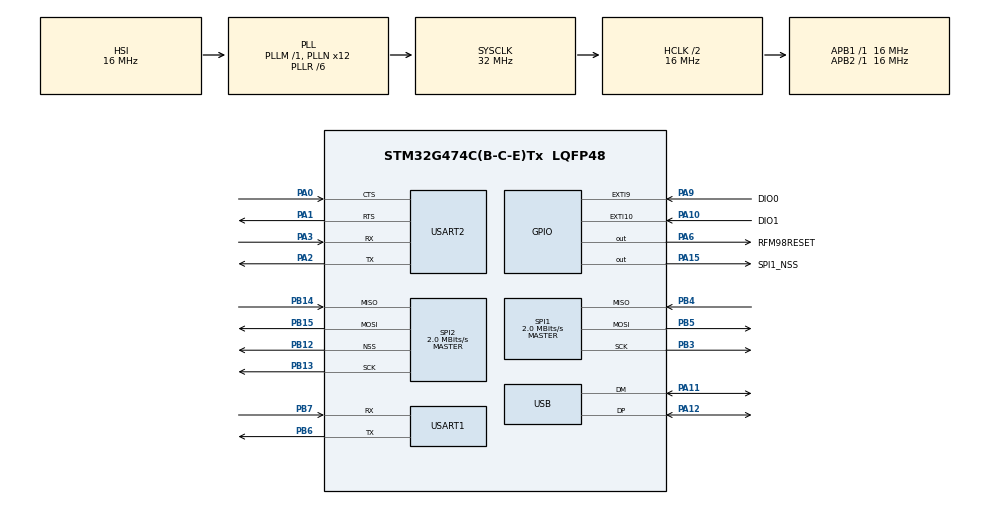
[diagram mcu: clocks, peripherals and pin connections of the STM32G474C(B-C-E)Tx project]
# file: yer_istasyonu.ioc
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Mcu.Family=STM32G4
Mcu.Name=STM32G474C(B-C-E)Tx
Mcu.Package=LQFP48
NVIC.EXTI15_10_IRQn=true\:0\:0\:false\:false\:true\:true\:true\:true
NVIC.EXTI9_5_IRQn=true\:0\:0\:false\:false\:true\:true\:true\:true
NVIC.PriorityGroup=NVIC_PRIORITYGROUP_4
PA0.Mode=CTS_RTS
PA0.Signal=USART2_CTS
PA1.Mode=CTS_RTS
PA1.Signal=USART2_RTS
PA10.GPIO_Label=DIO1
PA10.Signal=GPXTI10
PA11.Mode=Device
PA11.Signal=USB_DM
PA12.Mode=Device
PA12.Signal=USB_DP
PA13.Mode=Serial_Wire
PA13.Signal=SYS_JTMS-SWDIO
PA14.Mode=Serial_Wire
PA14.Signal=SYS_JTCK-SWCLK
PA15.GPIO_Label=SPI1_NSS
PA15.PinState=GPIO_PIN_SET
PA15.Signal=GPIO_Output
PA2.Mode=Asynchronous
PA2.Signal=USART2_TX
PA3.Mode=Asynchronous
PA3.Signal=USART2_RX
PA6.GPIO_Label=RFM98RESET
PA6.PinState=GPIO_PIN_SET
PA6.Signal=GPIO_Output
PA9.GPIO_Label=DIO0
PA9.Signal=GPXTI9
PB12.Mode=NSS_Signal_Hard_Output
PB12.Signal=SPI2_NSS
PB13.Mode=Full_Duplex_Master
PB13.Signal=SPI2_SCK
PB14.Mode=Full_Duplex_Master
PB14.Signal=SPI2_MISO
PB15.Mode=Full_Duplex_Master
PB15.Signal=SPI2_MOSI
PB3.Mode=Full_Duplex_Master
PB3.Signal=SPI1_SCK
PB4.Mode=Full_Duplex_Master
PB4.Signal=SPI1_MISO
PB5.Mode=Full_Duplex_Master
PB5.Signal=SPI1_MOSI
PB6.Mode=Asynchronous
PB6.Signal=USART1_TX
PB7.Mode=Asynchronous
PB7.Signal=USART1_RX
ProjectManager.HeapSize=0x200
ProjectManager.StackSize=0x400
ProjectManager.TargetToolchain=STM32CubeIDE
RCC.ADC12Freq_Value=32000000
RCC.ADC345Freq_Value=32000000
RCC.AHBCLKDivider=RCC_SYSCLK_DIV2
RCC.AHBFreq_Value=16000000
RCC.APB1Freq_Value=16000000
RCC.APB1TimFreq_Value=16000000
RCC.APB2Freq_Value=16000000
RCC.APB2TimFreq_Value=16000000
RCC.CortexFreq_Value=16000000
RCC.EXTERNAL_CLOCK_VALUE=12288000
RCC.HCLKFreq_Value=16000000
RCC.HSE_VALUE=8000000
RCC.HSI48_VALUE=48000000
RCC.HSI_VALUE=16000000
RCC.LSE_VALUE=32768
RCC.PLLN=12
RCC.PLLQ=RCC_PLLQ_DIV4
RCC.PLLR=RCC_PLLR_DIV6
RCC.SYSCLKFreq_VALUE=32000000
RCC.SYSCLKSource=RCC_SYSCLKSOURCE_PLLCLK
RCC.USBFreq_Value=48000000
RCC.VCOOutputFreq_Value=192000000
SPI1.BaudRatePrescaler=SPI_BAUDRATEPRESCALER_8
SPI1.CLKPhase=SPI_PHASE_1EDGE
SPI1.CalculateBaudRate=2.0 MBits/s
SPI1.DataSize=SPI_DATASIZE_8BIT
SPI1.Direction=SPI_DIRECTION_2LINES
SPI1.Mode=SPI_MODE_MASTER
SPI1.VirtualType=VM_MASTER
SPI2.BaudRatePrescaler=SPI_BAUDRATEPRESCALER_8
SPI2.CalculateBaudRate=2.0 MBits/s
SPI2.DataSize=SPI_DATASIZE_8BIT
SPI2.Direction=SPI_DIRECTION_2LINES
SPI2.Mode=SPI_MODE_MASTER
SPI2.VirtualNSS=VM_NSSHARD
SPI2.VirtualType=VM_MASTER
USART1.VirtualMode-Asynchronous=VM_ASYNC
USART2.VirtualMode-Asynchronous=VM_ASYNC
USB.Sof_enable=DISABLE
VP_CRC_VS_CRC.Mode=CRC_Activate
VP_SYS_VS_DBSignals.Mode=DisableDeadBatterySignals
board=custom

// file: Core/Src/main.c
/* USER CODE BEGIN Header */
/**
  ******************************************************************************
  * @file           : main.c
  * @brief          : Main program body
  ******************************************************************************
  * @attention
  *
  * Copyright (c) 2024 STMicroelectronics.
  * All rights reserved.
  *
  * This software is licensed under terms that can be found in the LICENSE file
  * in the root directory of this software component.
  * If no LICENSE file comes with this software, it is provided AS-IS.
  *
  ******************************************************************************
  */
/* USER CODE END Header */
#include "main.h"
#include "crc.h"
#include "spi.h"
#include "usart.h"
#include "usb.h"
#include "gpio.h"

/* USER CODE BEGIN Includes */
#include <stdint.h>
#include <stdlib.h>
#include <string.h>
#include <time.h>
#include "LoRa.h"
#include "data_packet.h"
/* USER CODE END Includes */

/* USER CODE BEGIN PV */
LoRa 		myLoRa;
uint8_t 	read_data[18];
uint8_t 	send_data[18];
uint8_t 	buffer[18];
/* USER CODE END PV */

void SystemClock_Config(void);
/* USER CODE BEGIN PFP */

void HAL_GPIO_EXTI_Callback(uint16_t GPIO_Pin)
{
	if(GPIO_Pin == DIO0_Pin)
	{
		// RECEIVING DATA - - - - - - - - - - - - - - - - - - - - - - - -
		LoRa_receive(&myLoRa, read_data, 18);
  	}
}

/* USER CODE END PFP */

int main(void)
{

  /* MCU Configuration--------------------------------------------------------*/

  /* Reset of all peripherals, Initializes the Flash interface and the Systick. */
  HAL_Init();

  /* Configure the system clock */
  SystemClock_Config();

  /* Initialize all configured peripherals */
  MX_GPIO_Init();
  MX_SPI1_Init();
  MX_SPI2_Init();
  MX_USART1_UART_Init();
  MX_USART2_UART_Init();
  MX_USB_PCD_Init();
  MX_CRC_Init();
  /* USER CODE BEGIN 2 */

	// MODULE SETTINGS ----------------------------------------------
	Lora_SetDefaultConfig(&myLoRa);

	myLoRa.hSPIx                = &hspi1;

	myLoRa.CS_port              = SPI1_NSS_GPIO_Port;
	myLoRa.CS_pin               = SPI1_NSS_Pin;

	myLoRa.reset_port           = RFM98RESET_GPIO_Port;
	myLoRa.reset_pin            = RFM98RESET_Pin;

	myLoRa.DIO0_port			= DIO0_GPIO_Port;
	myLoRa.DIO0_pin				= DIO0_Pin;

	LoRa_reset(&myLoRa);

	if (200 == LoRa_init(&myLoRa))
		HAL_UART_Transmit(&huart1, (uint8_t *) "LoRa_init _k", 128,500);

	srand(time(NULL));

	// START CONTINUOUS RECEIVING -----------------------------------
	LoRa_startReceiving(&myLoRa);
	//---------------------------------------------------------------

  /* USER CODE END 2 */

  /* Infinite loop */
  /* USER CODE BEGIN WHILE */
  while (1)
  {
	// SENDING DATA - - - - - - - - - - - - - - - - - - - - - - - - -

	/*
	write_data[0]=0x3B;
	write_data[1] = rand() % 100 + 1;
	strcpy(write_data + 2, "Baklava");
	*/

	Data_packet_transmit my_data = {.c_stat = 1, .altitude = 3131.657, .pressure = 1024.567,
	.bat_level = rand() % 100 + 1, .latitude = 30.865, .longtitude = 21.722};
	transmit_data_packet(&my_data, buffer);

	LoRa_transmit(&myLoRa, buffer, 18, 150);
	HAL_Delay(1500);

    /* USER CODE END WHILE */

  }
}

void SystemClock_Config(void)
{
  RCC_OscInitTypeDef RCC_OscInitStruct = {0};
  RCC_ClkInitTypeDef RCC_ClkInitStruct = {0};

  /** Configure the main internal regulator output voltage
  */
  HAL_PWREx_ControlVoltageScaling(PWR_REGULATOR_VOLTAGE_SCALE1);

  /** Initializes the RCC Oscillators according to the specified parameters
  * in the RCC_OscInitTypeDef structure.
  */
  RCC_OscInitStruct.OscillatorType = RCC_OSCILLATORTYPE_HSI;
  RCC_OscInitStruct.HSIState = RCC_HSI_ON;
  RCC_OscInitStruct.HSICalibrationValue = RCC_HSICALIBRATION_DEFAULT;
  RCC_OscInitStruct.PLL.PLLState = RCC_PLL_ON;
  RCC_OscInitStruct.PLL.PLLSource = RCC_PLLSOURCE_HSI;
  RCC_OscInitStruct.PLL.PLLM = RCC_PLLM_DIV1;
  RCC_OscInitStruct.PLL.PLLN = 12;
  RCC_OscInitStruct.PLL.PLLP = RCC_PLLP_DIV2;
  RCC_OscInitStruct.PLL.PLLQ = RCC_PLLQ_DIV4;
  RCC_OscInitStruct.PLL.PLLR = RCC_PLLR_DIV6;
  if (HAL_RCC_OscConfig(&RCC_OscInitStruct) != HAL_OK)
  {
    Error_Handler();
  }

  /** Initializes the CPU, AHB and APB buses clocks
  */
  RCC_ClkInitStruct.ClockType = RCC_CLOCKTYPE_HCLK|RCC_CLOCKTYPE_SYSCLK
                              |RCC_CLOCKTYPE_PCLK1|RCC_CLOCKTYPE_PCLK2;
  RCC_ClkInitStruct.SYSCLKSource = RCC_SYSCLKSOURCE_PLLCLK;
  RCC_ClkInitStruct.AHBCLKDivider = RCC_SYSCLK_DIV2;
  RCC_ClkInitStruct.APB1CLKDivider = RCC_HCLK_DIV1;
  RCC_ClkInitStruct.APB2CLKDivider = RCC_HCLK_DIV1;

  if (HAL_RCC_ClockConfig(&RCC_ClkInitStruct, FLASH_LATENCY_0) != HAL_OK)
  {
    Error_Handler();
  }
}

void Error_Handler(void)
{
  __disable_irq();
  while (1)
  {
  }
}
